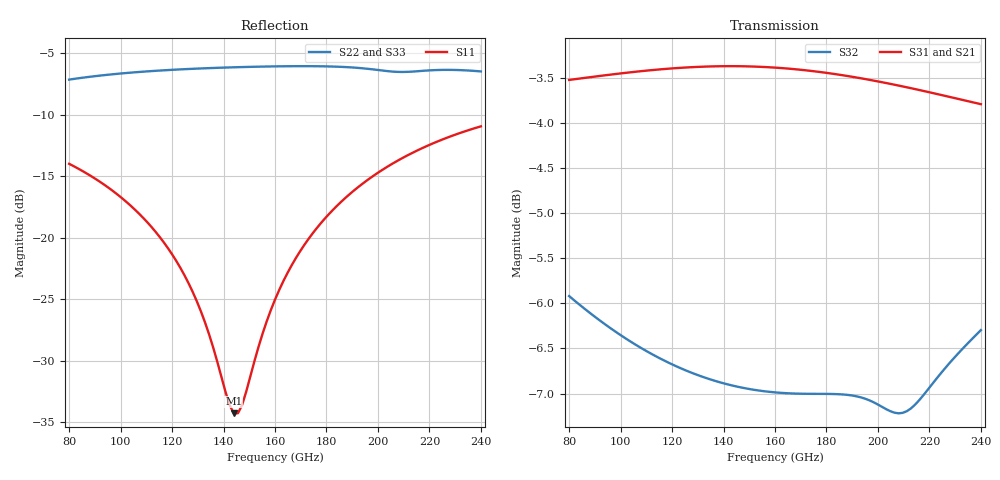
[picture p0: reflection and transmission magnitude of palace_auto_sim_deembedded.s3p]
! Created with skrf 1.11.0 (http://scikit-rf.org).
# GHz S DB R 50.0
!freq dBS11 angS11 dBS12 angS12 dBS13 angS13
! dBS21 angS21 dBS22 angS22 dBS23 angS23
! dBS31 angS31 dBS32 angS32 dBS33 angS33
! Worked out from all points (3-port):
!   101 points, 80 GHz to 240 GHz, reference 50 ohm
!   strongest paths, dB at 80 GHz, 120 GHz, 160 GHz, 200 GHz, 240 GHz:
!     S31: -3.5, -3.4, -3.4, -3.5, -3.8
!     S21: -3.5, -3.4, -3.4, -3.5, -3.8
!     S32: -5.9, -6.7, -7.0, -7.1, -6.3
!   lowest |S11| = -34.3 dB at 144 GHz (marker M1), VSWR 1.04, Z = 51.8 + j0.877 ohm
!   |S11| at or under -10 dB: start of sweep to end of sweep
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80  -13.98 136.1  -3.53 -43.1  -3.52 -43.1
    -3.53 -43.1  -7.12 49.9  -5.92 -99.9
    -3.52 -43.1  -5.92 -99.9  -7.14 49.9
102.4  -17.10 122.1  -3.45 -55.6  -3.44 -55.6
       -3.45 -55.6  -6.58 32.0  -6.40 -124.0
       -3.44 -55.6  -6.40 -124.0  -6.60 32.0
120  -21.34 107.8  -3.40 -65.7  -3.39 -65.7
     -3.40 -65.7  -6.33 20.1  -6.68 -142.5
     -3.39 -65.7  -6.68 -142.5  -6.34 20.1
131.2  -25.98 92.4  -3.38 -72.2  -3.38 -72.2
       -3.38 -72.2  -6.22 13.2  -6.81 -154.0
       -3.38 -72.2  -6.81 -154.0  -6.23 13.1
144  -34.28 26.0  -3.38 -79.6  -3.37 -79.6
     -3.38 -79.6  -6.12 5.6  -6.91 -167.2
     -3.37 -79.6  -6.91 -167.2  -6.14 5.6
147.2  -33.61 -7.4  -3.38 -81.5  -3.37 -81.5
       -3.38 -81.5  -6.10 3.8  -6.93 -170.5
       -3.37 -81.5  -6.93 -170.5  -6.12 3.7
160  -25.03 -60.7  -3.39 -89.0  -3.39 -89.0
     -3.39 -89.0  -6.05 -3.6  -6.99 176.3
     -3.39 -89.0  -6.99 176.3  -6.07 -3.6
172.8  -20.15 -76.2  -3.43 -96.4  -3.42 -96.4
       -3.43 -96.4  -6.03 -11.0  -7.00 163.1
       -3.42 -96.4  -7.00 163.1  -6.05 -11.0
190.4  -16.20 -89.6  -3.50 -106.6  -3.49 -106.6
       -3.50 -106.6  -6.14 -21.6  -7.02 144.4
       -3.49 -106.6  -7.02 144.4  -6.16 -21.6
240  -10.93 -118.0  -3.80 -134.4  -3.79 -134.4
     -3.80 -134.4  -6.46 -53.1  -6.30 95.4
     -3.79 -134.4  -6.30 95.4  -6.48 -53.1
